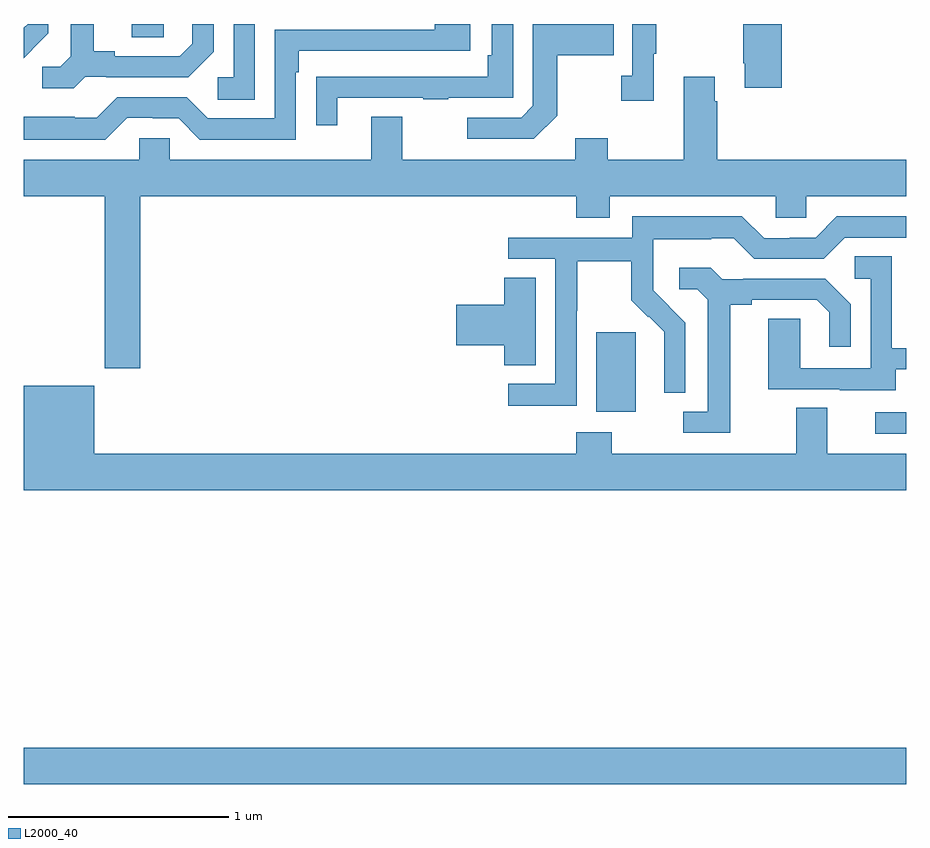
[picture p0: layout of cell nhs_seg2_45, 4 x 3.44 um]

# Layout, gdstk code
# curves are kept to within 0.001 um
import gdstk
lib = gdstk.Library(unit=1e-6, precision=1e-09)
def R(c, l, rs):  # rectangles x0, y0, x1, y1
    for r in rs: c.add(gdstk.rectangle(r[:2], r[2:], *l))
def P(c, l, *ps):  # polygons
    for p in ps: c.add(gdstk.Polygon(p, *l))
L2000_40 = (2000, 40)

nhs_seg2_45 = lib.new_cell('nhs_seg2_45')
R(nhs_seg2_45, L2000_40, [(113,594.356,117,594.52), (116.859,595.944,117,596.04), (115.595,596.042,115.774,596.403), (113.489,597.739,113.634,597.8)])
P(nhs_seg2_45, L2000_40, [(115.855,597.665),(115.867,597.665),(115.867,597.8),(115.758,597.8),(115.758,597.566),(115.707,597.566),(115.707,597.453),(115.855,597.453)],
  [(116.435,597.8),(116.26,597.8),(116.26,597.622),(116.267,597.622),(116.267,597.51),(116.435,597.51)],
  [(113.28,597.561),(113.374,597.561),(113.374,597.558),(113.746,597.558),(113.862,597.674),(113.862,597.8),(113.765,597.8),(113.765,597.711),(113.708,597.654),(113.413,597.654),(113.413,597.677),(113.317,597.677),(113.317,597.8),(113.213,597.8),(113.213,597.653),(113.166,597.606),(113.085,597.606),(113.085,597.509),(113.228,597.509)],
  [(113.469,597.375),(113.585,597.375),(113.585,597.372),(113.703,597.372),(113.799,597.276),(114.234,597.276),(114.234,597.581),(114.247,597.581),(114.247,597.678),(115.024,597.678),(115.024,597.8),(114.863,597.8),(114.863,597.774),(114.138,597.774),(114.138,597.372),(113.835,597.372),(113.739,597.468),(113.424,597.468),(113.331,597.375),(113.231,597.375),(113.231,597.379),(113,597.379),(113,597.275),(113.369,597.275)],
  [(113.04,597.684),(113.039,597.685),(113.112,597.758),(113.112,597.8),(113.018,597.8),(113,597.782),(113,597.644)],
  [(114.048,597.8),(113.952,597.8),(113.952,597.558),(113.88,597.558),(113.88,597.457),(114.048,597.457)],
  [(114.421,597.465),(114.811,597.465),(114.811,597.46),(114.923,597.46),(114.923,597.465),(115.218,597.465),(115.218,597.8),(115.122,597.8),(115.122,597.658),(115.102,597.658),(115.102,597.561),(114.427,597.561),(114.427,597.56),(114.325,597.56),(114.325,597.342),(114.421,597.342)],
  [(115.417,597.385),(115.417,597.658),(115.673,597.658),(115.673,597.8),(115.308,597.8),(115.308,597.429),(115.254,597.375),(115.011,597.375),(115.011,597.279),(115.311,597.279)],
  [(113.528,597.02),(115.505,597.02),(115.505,596.921),(115.657,596.921),(115.657,597.02),(116.409,597.02),(116.409,596.922),(116.547,596.922),(116.547,597.02),(117,597.02),(117,597.184),(116.144,597.184),(116.144,597.449),(116.131,597.449),(116.131,597.562),(115.991,597.562),(115.991,597.184),(115.647,597.184),(115.647,597.283),(115.499,597.283),(115.499,597.184),(114.715,597.184),(114.715,597.379),(114.575,597.379),(114.575,597.184),(113.661,597.184),(113.661,597.282),(113.523,597.282),(113.523,597.184),(113,597.184),(113,597.02),(113.368,597.02),(113.368,596.241),(113.528,596.241)],
  [(115.506,596.5),(115.509,596.5),(115.509,596.724),(115.753,596.724),(115.753,596.549),(115.83,596.472),(115.833,596.475),(115.904,596.405),(115.904,596.282),(115.902,596.282),(115.902,596.128),(115.998,596.128),(115.998,596.446),(115.852,596.594),(115.852,596.691),(115.854,596.691),(115.854,596.825),(116.117,596.825),(116.117,596.829),(116.217,596.829),(116.31,596.736),(116.625,596.736),(116.721,596.832),(117,596.832),(117,596.928),(116.685,596.928),(116.589,596.832),(116.471,596.832),(116.471,596.829),(116.355,596.829),(116.255,596.929),(115.758,596.929),(115.758,596.832),(115.197,596.832),(115.197,596.736),(115.41,596.736),(115.41,596.169),(115.197,596.169),(115.197,596.071),(115.506,596.071)],
  [(116.953,596.235),(117,596.235),(117,596.331),(116.934,596.331),(116.934,596.747),(116.766,596.747),(116.766,596.646),(116.838,596.646),(116.838,596.241),(116.52,596.241),(116.52,596.465),(116.375,596.465),(116.375,596.145),(116.699,596.145),(116.699,596.141),(116.953,596.141)],
  [(116.203,596.528),(116.299,596.528),(116.299,596.55),(116.594,596.55),(116.651,596.493),(116.651,596.337),(116.748,596.337),(116.748,596.53),(116.632,596.646),(116.26,596.646),(116.26,596.643),(116.166,596.643),(116.114,596.695),(115.971,596.695),(115.971,596.598),(116.052,596.598),(116.099,596.551),(116.099,596.043),(115.989,596.043),(115.989,595.947),(116.203,595.947)],
  [(115.321,596.651),(115.178,596.651),(115.178,596.528),(114.96,596.528),(114.96,596.345),(115.178,596.345),(115.178,596.254),(115.321,596.254)],
  [(117,595.852),(116.641,595.852),(116.641,596.06),(116.501,596.06),(116.501,595.852),(115.665,595.852),(115.665,595.951),(115.505,595.951),(115.505,595.852),(113.32,595.852),(113.32,596.161),(113,596.161),(113,595.688),(117,595.688)])

lib.write_gds('nhs_seg2_45.gds')
